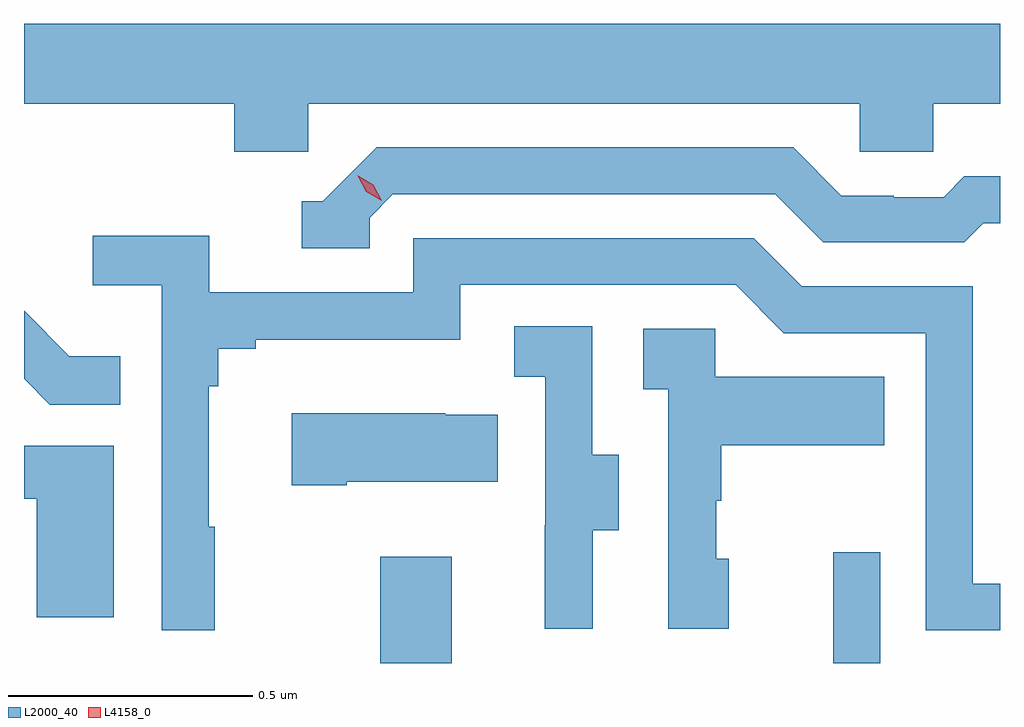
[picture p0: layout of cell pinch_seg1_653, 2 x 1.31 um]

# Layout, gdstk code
import gdstk
lib = gdstk.Library(unit=1e-6, precision=1e-09)
def R(c, l, rs):  # rectangles x0, y0, x1, y1
    for r in rs: c.add(gdstk.rectangle(r[:2], r[2:], *l))
def P(c, l, *ps):  # polygons
    for p in ps: c.add(gdstk.Polygon(p, *l))
L2000_40 = (2000, 40)
L4158_0 = (4158, 0)

pinch_seg1_653 = lib.new_cell('pinch_seg1_653')
R(pinch_seg1_653, L2000_40, [(1128.862,507.962,1129.009,508.18), (1129.79,507.962,1129.887,508.189)])
P(pinch_seg1_653, L2000_40, [(1128.714,509.108),(1129.845,509.108),(1129.845,509.01),(1129.995,509.01),(1129.995,509.108),(1130.132,509.108),(1130.132,509.272),(1128.132,509.272),(1128.132,509.108),(1128.563,509.108),(1128.563,509.01),(1128.714,509.01)],
  [(1128.84,508.875),(1128.888,508.923),(1129.671,508.923),(1129.77,508.824),(1130.059,508.824),(1130.098,508.863),(1130.132,508.863),(1130.132,508.96),(1130.059,508.96),(1130.017,508.917),(1129.914,508.917),(1129.914,508.92),(1129.807,508.92),(1129.708,509.019),(1128.855,509.019),(1128.744,508.908),(1128.701,508.908),(1128.701,508.812),(1128.84,508.812)],
  [(1128.523,508.241),(1128.511,508.241),(1128.511,508.529),(1128.53,508.529),(1128.53,508.606),(1128.607,508.606),(1128.607,508.625),(1129.026,508.625),(1129.026,508.737),(1129.59,508.737),(1129.689,508.638),(1129.98,508.638),(1129.98,508.029),(1130.132,508.029),(1130.132,508.125),(1130.076,508.125),(1130.076,508.734),(1129.726,508.734),(1129.627,508.833),(1128.93,508.833),(1128.93,508.722),(1128.512,508.722),(1128.512,508.838),(1128.273,508.838),(1128.273,508.736),(1128.414,508.736),(1128.414,508.029),(1128.523,508.029)],
  [(1128.329,508.591),(1128.225,508.591),(1128.132,508.684),(1128.132,508.545),(1128.185,508.492),(1128.329,508.492)],
  [(1129.297,508.234),(1129.351,508.234),(1129.351,508.389),(1129.296,508.389),(1129.296,508.652),(1129.137,508.652),(1129.137,508.549),(1129.2,508.549),(1129.2,508.245),(1129.199,508.245),(1129.199,508.032),(1129.297,508.032)],
  [(1129.576,508.176),(1129.551,508.176),(1129.551,508.295),(1129.561,508.295),(1129.561,508.409),(1129.895,508.409),(1129.895,508.549),(1129.548,508.549),(1129.548,508.647),(1129.401,508.647),(1129.401,508.523),(1129.452,508.523),(1129.452,508.032),(1129.576,508.032)],
  [(1128.793,508.334),(1129.103,508.334),(1129.103,508.471),(1128.995,508.471),(1128.995,508.474),(1128.681,508.474),(1128.681,508.327),(1128.793,508.327)],
  [(1128.316,508.407),(1128.132,508.407),(1128.132,508.299),(1128.158,508.299),(1128.158,508.056),(1128.316,508.056)])
P(pinch_seg1_653, L4158_0, [(1128.865,508.91),(1128.833,508.928),(1128.816,508.961),(1128.816,508.961),(1128.817,508.961),(1128.848,508.942),(1128.865,508.91),(1128.865,508.91)])

lib.write_gds('pinch_seg1_653.gds')
